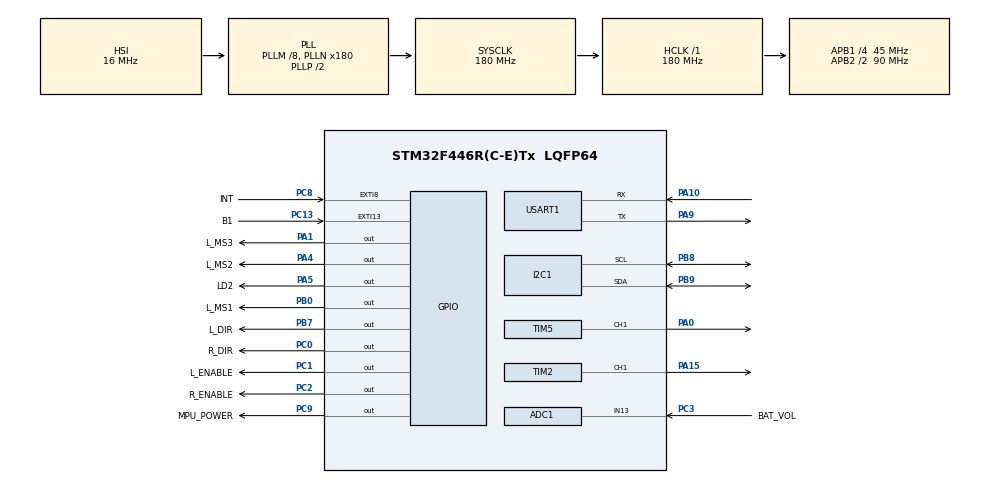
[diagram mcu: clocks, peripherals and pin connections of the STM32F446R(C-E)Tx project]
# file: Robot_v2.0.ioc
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ADC1.Channel-0\#ChannelRegularConversion=ADC_CHANNEL_13
ADC1.ClockPrescaler=ADC_CLOCK_SYNC_PCLK_DIV8
ADC1.ContinuousConvMode=ENABLE
ADC1.DMAContinuousRequests=ENABLE
ADC1.NbrOfConversion=1
ADC1.NbrOfConversionFlag=1
ADC1.Rank-0\#ChannelRegularConversion=1
ADC1.SamplingTime-0\#ChannelRegularConversion=ADC_SAMPLETIME_480CYCLES
ADC1.ScanConvMode=DISABLE
ADC1.master=1
Dma.ADC1.2.Direction=DMA_PERIPH_TO_MEMORY
Dma.ADC1.2.FIFOMode=DMA_FIFOMODE_DISABLE
Dma.ADC1.2.Instance=DMA2_Stream0
Dma.ADC1.2.MemDataAlignment=DMA_MDATAALIGN_HALFWORD
Dma.ADC1.2.MemInc=DMA_MINC_ENABLE
Dma.ADC1.2.Mode=DMA_CIRCULAR
Dma.ADC1.2.PeriphDataAlignment=DMA_PDATAALIGN_HALFWORD
Dma.ADC1.2.PeriphInc=DMA_PINC_DISABLE
Dma.ADC1.2.Priority=DMA_PRIORITY_LOW
Dma.Request0=USART1_TX
Dma.Request1=USART1_RX
Dma.Request2=ADC1
Dma.USART1_RX.1.Direction=DMA_PERIPH_TO_MEMORY
Dma.USART1_RX.1.FIFOMode=DMA_FIFOMODE_DISABLE
Dma.USART1_RX.1.Instance=DMA2_Stream2
Dma.USART1_RX.1.MemDataAlignment=DMA_MDATAALIGN_BYTE
Dma.USART1_RX.1.MemInc=DMA_MINC_ENABLE
Dma.USART1_RX.1.Mode=DMA_NORMAL
Dma.USART1_RX.1.PeriphDataAlignment=DMA_PDATAALIGN_BYTE
Dma.USART1_RX.1.PeriphInc=DMA_PINC_DISABLE
Dma.USART1_RX.1.Priority=DMA_PRIORITY_LOW
Dma.USART1_TX.0.Direction=DMA_MEMORY_TO_PERIPH
Dma.USART1_TX.0.FIFOMode=DMA_FIFOMODE_ENABLE
Dma.USART1_TX.0.FIFOThreshold=DMA_FIFO_THRESHOLD_FULL
Dma.USART1_TX.0.Instance=DMA2_Stream7
Dma.USART1_TX.0.MemBurst=DMA_MBURST_SINGLE
Dma.USART1_TX.0.MemDataAlignment=DMA_MDATAALIGN_BYTE
Dma.USART1_TX.0.MemInc=DMA_MINC_ENABLE
Dma.USART1_TX.0.Mode=DMA_NORMAL
Dma.USART1_TX.0.PeriphBurst=DMA_PBURST_SINGLE
Dma.USART1_TX.0.PeriphDataAlignment=DMA_PDATAALIGN_BYTE
Dma.USART1_TX.0.PeriphInc=DMA_PINC_DISABLE
Dma.USART1_TX.0.Priority=DMA_PRIORITY_LOW
I2C1.I2C_Mode=I2C_Fast
Mcu.Family=STM32F4
Mcu.Name=STM32F446R(C-E)Tx
Mcu.Package=LQFP64
NVIC.DMA2_Stream0_IRQn=true\:0\:0\:false\:false\:true\:false\:true
NVIC.DMA2_Stream2_IRQn=true\:0\:0\:false\:false\:true\:false\:true
NVIC.DMA2_Stream7_IRQn=true\:0\:0\:false\:false\:true\:false\:true
NVIC.EXTI15_10_IRQn=true\:0\:0\:false\:false\:true\:true\:true
NVIC.PriorityGroup=NVIC_PRIORITYGROUP_4
NVIC.TIM1_UP_TIM10_IRQn=true\:0\:0\:false\:false\:true\:true\:true
NVIC.USART1_IRQn=true\:0\:0\:false\:false\:true\:true\:true
PA0-WKUP.Signal=S_TIM5_CH1
PA1.GPIO_Label=L_MS3
PA1.Signal=GPIO_Output
PA10.Mode=Asynchronous
PA10.Signal=USART1_RX
PA15.Signal=S_TIM2_CH1_ETR
PA4.GPIO_Label=L_MS2
PA4.Signal=GPIO_Output
PA5.GPIO_Label=LD2
PA5.Signal=GPIO_Output
PA9.Mode=Asynchronous
PA9.Signal=USART1_TX
PB0.GPIO_Label=L_MS1
PB0.Signal=GPIO_Output
PB7.GPIO_Label=L_DIR
PB7.GPIO_Speed=GPIO_SPEED_FREQ_VERY_HIGH
PB7.Signal=GPIO_Output
PB8.Mode=I2C
PB8.Signal=I2C1_SCL
PB9.Mode=I2C
PB9.Signal=I2C1_SDA
PC0.GPIO_Label=R_DIR
PC0.GPIO_Speed=GPIO_SPEED_FREQ_VERY_HIGH
PC0.Signal=GPIO_Output
PC1.GPIO_Label=L_ENABLE
PC1.PinState=GPIO_PIN_SET
PC1.Signal=GPIO_Output
PC13.GPIO_Label=B1
PC13.Signal=GPXTI13
PC2.GPIO_Label=R_ENABLE
PC2.PinState=GPIO_PIN_SET
PC2.Signal=GPIO_Output
PC3.GPIO_Label=BAT_VOL
PC3.Signal=ADCx_IN13
PC8.GPIO_Label=INT
PC8.Signal=GPXTI8
PC9.GPIO_Label=MPU_POWER
PC9.PinState=GPIO_PIN_SET
PC9.Signal=GPIO_Output
ProjectManager.HeapSize=0x200
ProjectManager.StackSize=0x400
ProjectManager.TargetToolchain=STM32CubeIDE
RCC.AHBFreq_Value=180000000
RCC.APB1CLKDivider=RCC_HCLK_DIV4
RCC.APB1Freq_Value=45000000
RCC.APB1TimFreq_Value=90000000
RCC.APB2CLKDivider=RCC_HCLK_DIV2
RCC.APB2Freq_Value=90000000
RCC.APB2TimFreq_Value=180000000
RCC.CortexFreq_Value=180000000
RCC.HCLKFreq_Value=180000000
RCC.PLLM=8
RCC.PLLN=180
RCC.SYSCLKFreq_VALUE=180000000
RCC.SYSCLKSource=RCC_SYSCLKSOURCE_PLLCLK
RCC.USBFreq_Value=180000000
RCC.VCOOutputFreq_Value=360000000
SH.ADCx_IN13.0=ADC1_IN13,IN13
SH.ADCx_IN13.1=ADC2_IN13
SH.ADCx_IN13.2=ADC3_IN13
SH.S_TIM2_CH1_ETR.0=TIM2_CH1,Output Compare1 CH1
SH.S_TIM5_CH1.0=TIM5_CH1,Output Compare1 CH1
TIM1.Period=9
TIM1.Prescaler=89
TIM2.AutoReloadPreload=TIM_AUTORELOAD_PRELOAD_ENABLE
TIM2.Channel-Output\ Compare1\ CH1=TIM_CHANNEL_1
TIM2.OC1Preload=DISABLE
TIM2.OCMode_1=TIM_OCMODE_TOGGLE
TIM2.Period=99
TIM2.Prescaler=14
TIM5.AutoReloadPreload=TIM_AUTORELOAD_PRELOAD_ENABLE
TIM5.Channel-Output\ Compare1\ CH1=TIM_CHANNEL_1
TIM5.OC1Preload=DISABLE
TIM5.OCMode_1=TIM_OCMODE_TOGGLE
TIM5.Period=99
TIM5.Prescaler=14
USART1.VirtualMode=VM_ASYNC
VP_TIM1_VS_ClockSourceINT.Mode=Internal
VP_TIM2_VS_ClockSourceINT.Mode=Internal
VP_TIM5_VS_ClockSourceINT.Mode=Internal
board=custom

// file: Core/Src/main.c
/* USER CODE BEGIN Header */
/**
  ******************************************************************************
  * @file           : main.c
  * @brief          : Main program body
  ******************************************************************************
  * @attention
  *
  * <h2><center>&copy; Copyright (c) 2020 STMicroelectronics.
  * All rights reserved.</center></h2>
  *
  * This software component is licensed by ST under BSD 3-Clause license,
  * the "License"; You may not use this file except in compliance with the
  * License. You may obtain a copy of the License at:
  *                        opensource.org/licenses/BSD-3-Clause
  *
  ******************************************************************************
  */
/* USER CODE END Header */
#include "main.h"
#include "adc.h"
#include "dma.h"
#include "i2c.h"
#include "tim.h"
#include "usart.h"
#include "gpio.h"

/* USER CODE BEGIN Includes */
#include "stepper.h"
#include "PID.h"
#include "scheduler.h"
#include "general.h"
#include "MPU.h"
#include "config.h"
#include "bluetooth_communicator.h"

/* USER CODE END Includes */

/* USER CODE BEGIN PV */
stepper_pins_t left_stepper_pins = {
	.DIR = {
		.pin_port = L_DIR_GPIO_Port,
		.pin = L_DIR_Pin,
	},
	.ENABLE = {
		.pin_port = L_ENABLE_GPIO_Port,
		.pin = L_ENABLE_Pin,
	},
	.MS1 = {
		.pin_port = L_MS1_GPIO_Port,
		.pin = L_MS1_Pin,
	},
	.MS2 = {
		.pin_port = L_MS2_GPIO_Port,
		.pin = L_MS2_Pin,
	},
	.MS3 = {
		.pin_port = L_MS3_GPIO_Port,
		.pin = L_MS3_Pin,
	},
};
stepper_pins_t right_stepper_pins = {
	.DIR = {
		.pin_port = R_DIR_GPIO_Port,
		.pin = R_DIR_Pin,
	},
	.ENABLE = {
		.pin_port = R_ENABLE_GPIO_Port,
		.pin = R_ENABLE_Pin,
	},
	.MS1 = {
		.pin_port = L_MS1_GPIO_Port,
		.pin = L_MS1_Pin,
	},
	.MS2 = {
		.pin_port = L_MS2_GPIO_Port,
		.pin = L_MS2_Pin,
	},
	.MS3 = {
		.pin_port = L_MS3_GPIO_Port,
		.pin = L_MS3_Pin,
	},
};
PID_coefs_t angle_PID_coefs = {
	.KP_coef = INIT_ANGLE_KP,
	.KI_coef = INIT_ANGLE_KI,
	.KD_coef = INIT_ANGLE_KD,
};
PID_coefs_t speed_PID_coefs = {
	.KP_coef = INIT_SPEED_KP,
	.KI_coef = INIT_SPEED_KI,
	.KD_coef = INIT_SPEED_KD,
};
pin_t MPU_power_pin = (pin_t){
	.pin_port = MPU_POWER_GPIO_Port,
	.pin = MPU_POWER_Pin,
};

/* SHARED VARIABLES - copy as extern to event.c*/
float angle;
float target_angle = 0.;
float mount_error = MOUNT_ERROR;
uint8_t RxBuff[RECEIVED_BUFFER_SIZE];
uint32_t batt_vol = 0;
drive_command_t drive_command = STOP;
volatile robot_state_t state = PROGRAM_CALIBRATING;
bool angle_correction = FALSE;

float manual_turning_speed = TURNING_SPEED;
float joystick_max_turning_speed = TURNING_SPEED * 2;
float set_turining_speed = 0.0;

float manual_driving_speed = DRIVING_SPEED;
float joystick_max_driving_speed = DRIVING_SPEED * 2;

PID_t *angle_PID;
PID_t *speed_PID;
stepper_t *left_stepper;
stepper_t *right_stepper;
scheduler_t *scheduler;
MPU_t *myMPU;

/* USER CODE END PV */

void SystemClock_Config(void);

int main(void)
{
  /* USER CODE BEGIN 1 */
	left_stepper = stepper_create(left_stepper_pins, TRUE, &htim5, TIM_CHANNEL_1);
	right_stepper = stepper_create(right_stepper_pins, FALSE, &htim2, TIM_CHANNEL_1);
	angle_PID = PID_create(angle_PID_coefs, ANGLE_PID_DEADBAND, MAX_SPEED, 250, ANGLE_PID_DIFF_AVERAGE_COEF, ANGLE_PID_MAX_CHANGE);
	speed_PID = PID_create(speed_PID_coefs, SPEED_PID_DEADBAND, MAX_STEERING_ANGLE, 250, SPEED_PID_DIFF_AVERAGE_COEF, SPEED_PID_MAX_CHANGE);
	scheduler = scheduler_create();
  /* USER CODE END 1 */

  /* MCU Configuration--------------------------------------------------------*/

  /* Reset of all peripherals, Initializes the Flash interface and the Systick. */
  HAL_Init();

  /* Configure the system clock */
  SystemClock_Config();

  /* Initialize all configured peripherals */
  MX_GPIO_Init();
  MX_DMA_Init();
  MX_USART1_UART_Init();
  MX_TIM1_Init();
  MX_I2C1_Init();
  MX_TIM2_Init();
  MX_TIM5_Init();
  MX_ADC1_Init();
  /* USER CODE BEGIN 2 */
	left_stepper->set_microstepping(left_stepper, STEPS_128);
	right_stepper->set_microstepping(right_stepper, STEPS_128);
	myMPU = MPU_create(&hi2c1, 250, MPU_power_pin, 0xD1);
	HAL_Delay(100);
	while (TRUE)
	{
		if (myMPU->calibrate_gyro(myMPU) == HAL_OK)
			break;
		bt_send_message(&huart1, "gyro cali. err");
		myMPU->reset(myMPU);
	}
	angle = myMPU->get_acc_angle(myMPU);
	myMPU->set_last_angle(myMPU, angle);
	HAL_TIM_Base_Start_IT(&htim1);
	HAL_UART_Receive_DMA(&huart1, RxBuff, RECEIVED_BUFFER_SIZE);
	HAL_ADC_Start_DMA(&hadc1, &batt_vol, 1);
	scheduler->add_to_queue(scheduler, begin_waiting);
  /* USER CODE END 2 */

  /* Infinite loop */
	while (1)
	{

    /* USER CODE BEGIN 3 */
		scheduler->handle_next_event(scheduler);
	}
  /* USER CODE END 3 */
}

void SystemClock_Config(void)
{
  RCC_OscInitTypeDef RCC_OscInitStruct = {0};
  RCC_ClkInitTypeDef RCC_ClkInitStruct = {0};

  /** Configure the main internal regulator output voltage
  */
  __HAL_RCC_PWR_CLK_ENABLE();
  __HAL_PWR_VOLTAGESCALING_CONFIG(PWR_REGULATOR_VOLTAGE_SCALE1);
  /** Initializes the RCC Oscillators according to the specified parameters
  * in the RCC_OscInitTypeDef structure.
  */
  RCC_OscInitStruct.OscillatorType = RCC_OSCILLATORTYPE_HSI;
  RCC_OscInitStruct.HSIState = RCC_HSI_ON;
  RCC_OscInitStruct.HSICalibrationValue = RCC_HSICALIBRATION_DEFAULT;
  RCC_OscInitStruct.PLL.PLLState = RCC_PLL_ON;
  RCC_OscInitStruct.PLL.PLLSource = RCC_PLLSOURCE_HSI;
  RCC_OscInitStruct.PLL.PLLM = 8;
  RCC_OscInitStruct.PLL.PLLN = 180;
  RCC_OscInitStruct.PLL.PLLP = RCC_PLLP_DIV2;
  RCC_OscInitStruct.PLL.PLLQ = 2;
  RCC_OscInitStruct.PLL.PLLR = 2;
  if (HAL_RCC_OscConfig(&RCC_OscInitStruct) != HAL_OK)
  {
    Error_Handler();
  }
  /** Activate the Over-Drive mode
  */
  if (HAL_PWREx_EnableOverDrive() != HAL_OK)
  {
    Error_Handler();
  }
  /** Initializes the CPU, AHB and APB buses clocks
  */
  RCC_ClkInitStruct.ClockType = RCC_CLOCKTYPE_HCLK|RCC_CLOCKTYPE_SYSCLK
                              |RCC_CLOCKTYPE_PCLK1|RCC_CLOCKTYPE_PCLK2;
  RCC_ClkInitStruct.SYSCLKSource = RCC_SYSCLKSOURCE_PLLCLK;
  RCC_ClkInitStruct.AHBCLKDivider = RCC_SYSCLK_DIV1;
  RCC_ClkInitStruct.APB1CLKDivider = RCC_HCLK_DIV4;
  RCC_ClkInitStruct.APB2CLKDivider = RCC_HCLK_DIV2;

  if (HAL_RCC_ClockConfig(&RCC_ClkInitStruct, FLASH_LATENCY_5) != HAL_OK)
  {
    Error_Handler();
  }
}

/* USER CODE BEGIN 4 */
void HAL_SYSTICK_Callback(void)
{
	static uint32_t counter = 0;
	counter++;
	/* Routine while stopped, but not waiting */
	if (state == PROGRAM_CALIBRATING)
		return;
	if (state == STOPPED)
	{
		/* 250 Hz */
		if (counter % 4 == 0)
		{
			scheduler->add_to_queue(scheduler, measure_angle);
		}
		/* 2 Hz */
		if (counter % 500 == 0)
		{
			scheduler->add_to_queue(scheduler, send_telemetry);
		}
	}
	/* Routine while waiting */
	if (state == WAITING_FOR_LAUNCH)
	{
		/* 250 Hz */
		if (counter % 4 == 0)
		{
			scheduler->add_to_queue(scheduler, measure_angle);
		}
		/* 100 Hz */
		if (counter % 10 == 0)
		{
			scheduler->add_to_queue(scheduler, wait_for_angle);
		}
		/* 2 Hz */
		if (counter % 100 == 0)
		{
			scheduler->add_to_queue(scheduler, send_telemetry);
		}
	}
	if (state == LAUNCHED)
	{
		/* Routine while in action */
		/* 250 Hz */
		if (counter % 4 == 0)
		{
			scheduler->add_to_queue(scheduler, measure_angle);
			scheduler->add_to_queue(scheduler, angle_PID_tic);
			scheduler->add_to_queue(scheduler, movement_control_tic);
		}
		/* 100 Hz */
		if (counter % 10 == 0)
		{
			scheduler->add_to_queue(scheduler, right_ramp);
			scheduler->add_to_queue(scheduler, left_ramp);
		}
		/* 10 Hz */
		if (counter % 100 == 0)
		{
			scheduler->add_to_queue(scheduler, emergency_check);
		}
		/* 2 Hz */
		if (counter % 100 == 0)
		{
			scheduler->add_to_queue(scheduler, send_telemetry);
		}
	}
}

void HAL_GPIO_EXTI_Callback(uint16_t GPIO_Pin)
{
	if (GPIO_Pin == B1_Pin)
	{
		scheduler->add_to_queue(scheduler, restart);
	}
}

void HAL_UART_RxCpltCallback(UART_HandleTypeDef *huart)
{
	if (state != PROGRAM_CALIBRATING)
	{
		scheduler->add_to_queue(scheduler, process_rbuf);
	}
	HAL_UART_Receive_DMA(&huart1, RxBuff, RECEIVED_BUFFER_SIZE);
}

/* USER CODE END 4 */

void Error_Handler(void)
{
}

/************************ (C) COPYRIGHT STMicroelectronics *****END OF FILE****/
